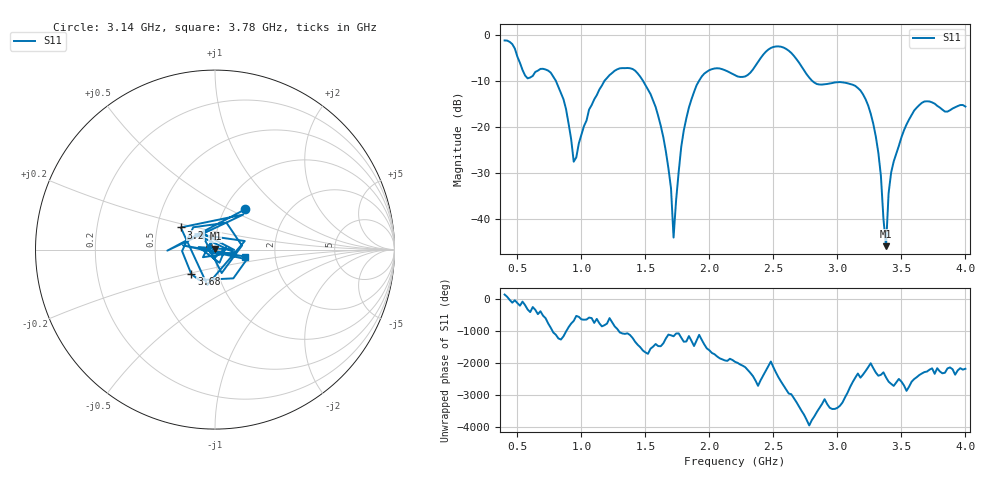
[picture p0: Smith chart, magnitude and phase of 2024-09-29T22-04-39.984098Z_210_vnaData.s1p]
!Created with skrf (http://scikit-rf.org).
# Hz S RI R 50.0
!freq ReS11 ImS11
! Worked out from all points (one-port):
!   181 points, 400 MHz to 4 GHz, reference 50 ohm
!   lowest |S11| = -45.8 dB at 3.38 GHz (marker M1), VSWR 1.01, Z = 50.3 + j0.441 ohm
!   |S11| at or under -10 dB: 801.3 MHz to 1.179 GHz (377.7 MHz wide, 38.1 % of centre); 1.482 GHz to 1.918 GHz (435.8 MHz wide, 25.6 % of centre); 2.805 GHz to end of sweep
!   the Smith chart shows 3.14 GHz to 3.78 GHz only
!   S11 on the Smith chart (normalised r, x): 3.14 GHz: 1.24, +0.60; 3.2 GHz: 0.66, +0.17; 3.68 GHz: 0.74, -0.21; 3.78 GHz: 1.39, -0.11
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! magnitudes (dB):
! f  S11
! 400 MHz  -1.2
! 580 MHz  -9.4
! 740 MHz  -7.7
! 860 MHz  -13.9
! 940 MHz  -27.5
! 1.06 GHz  -16.2
! 1.3 GHz  -7.2
! 1.58 GHz  -15.6
! 1.68 GHz  -29.0
! 1.72 GHz  -43.9
! 1.76 GHz  -29.7
! 1.82 GHz  -18.1
! 1.92 GHz  -9.9
! 2.2 GHz  -8.7
! 2.5 GHz  -2.6
! 2.66 GHz  -4.5
! 2.84 GHz  -10.6
! 3.1 GHz  -10.6
! 3.14 GHz  -11.0
! 3.2 GHz  -12.9
! 3.32 GHz  -25.6
! 3.38 GHz  -45.8
! 3.4 GHz  -34.3
! 3.42 GHz  -29.8
! 3.56 GHz  -18.3
! 3.68 GHz  -14.4
! 3.78 GHz  -15.4
! 4 GHz  -15.5
